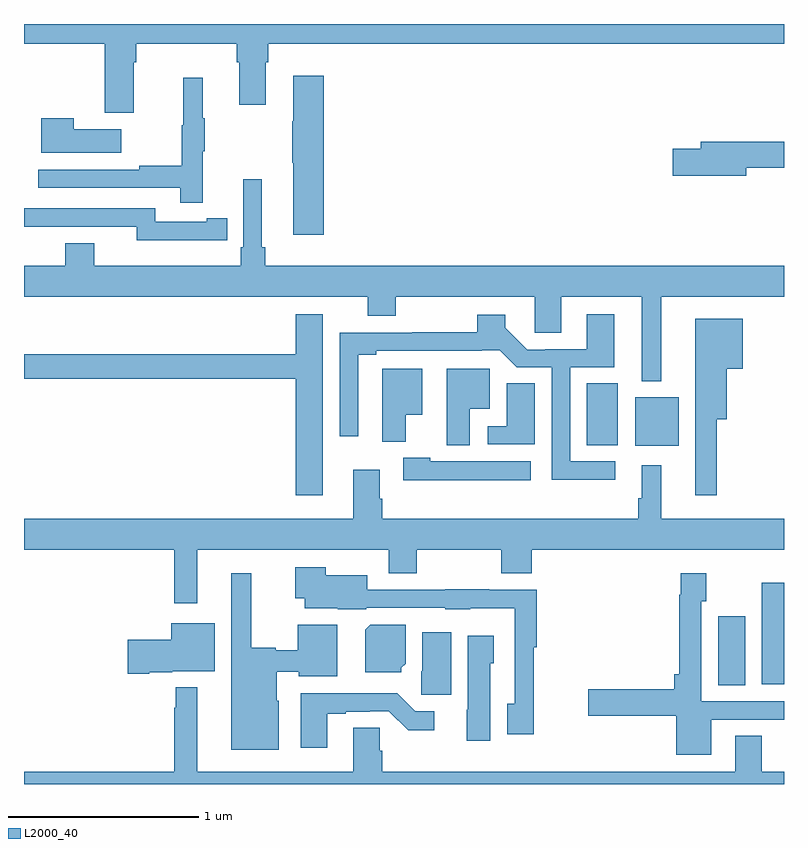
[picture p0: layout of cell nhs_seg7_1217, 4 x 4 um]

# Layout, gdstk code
import gdstk
lib = gdstk.Library(unit=1e-6, precision=1e-09)
def R(c, l, rs):  # rectangles x0, y0, x1, y1
    for r in rs: c.add(gdstk.rectangle(r[:2], r[2:], *l))
def P(c, l, *ps):  # polygons
    for p in ps: c.add(gdstk.Polygon(p, *l))
L2000_40 = (2000, 40)

nhs_seg7_1217 = lib.new_cell('nhs_seg7_1217')
R(nhs_seg7_1217, L2000_40, [(198.653,1050.52,198.796,1050.883), (198.884,1050.524,199,1051.06), (198.218,1051.781,198.445,1052.035), (197.963,1051.783,198.124,1052.108)])
P(nhs_seg7_1217, L2000_40, [(195.577,1053.8),(195.59,1053.8),(195.59,1053.896),(196.121,1053.896),(196.121,1053.8),(196.133,1053.8),(196.133,1053.576),(196.273,1053.576),(196.273,1053.8),(196.286,1053.8),(196.286,1053.896),(199,1053.896),(199,1054),(195,1054),(195,1053.896),(195.425,1053.896),(195.425,1053.534),(195.577,1053.534)],
  [(196.577,1053.727),(196.418,1053.727),(196.418,1053.488),(196.411,1053.488),(196.411,1053.271),(196.418,1053.271),(196.418,1052.892),(196.577,1052.892)],
  [(195.941,1053.331),(195.952,1053.331),(195.952,1053.505),(195.941,1053.505),(195.941,1053.718),(195.838,1053.718),(195.838,1053.468),(195.831,1053.468),(195.831,1053.254),(195.607,1053.254),(195.607,1053.234),(195.075,1053.234),(195.075,1053.138),(195.823,1053.138),(195.823,1053.06),(195.941,1053.06)],
  [(195.511,1053.445),(195.263,1053.445),(195.263,1053.505),(195.092,1053.505),(195.092,1053.323),(195.511,1053.323)],
  [(198.802,1053.244),(199,1053.244),(199,1053.38),(198.563,1053.38),(198.563,1053.344),(198.414,1053.344),(198.414,1053.202),(198.802,1053.202)],
  [(198.355,1052.564),(199,1052.564),(199,1052.728),(196.271,1052.728),(196.271,1052.824),(196.252,1052.824),(196.252,1053.184),(196.155,1053.184),(196.155,1052.824),(196.142,1052.824),(196.142,1052.728),(195.37,1052.728),(195.37,1052.845),(195.218,1052.845),(195.218,1052.728),(195,1052.728),(195,1052.564),(196.808,1052.564),(196.808,1052.465),(196.956,1052.465),(196.956,1052.564),(197.688,1052.564),(197.688,1052.374),(197.827,1052.374),(197.827,1052.564),(198.251,1052.564),(198.251,1052.12),(198.355,1052.12)],
  [(195.962,1052.862),(196.07,1052.862),(196.07,1052.978),(195.962,1052.978),(195.962,1052.958),(195.69,1052.958),(195.69,1053.03),(195,1053.03),(195,1052.933),(195.134,1052.933),(195.134,1052.934),(195.594,1052.934),(195.594,1052.861),(195.962,1052.861)],
  [(196.573,1052.473),(196.43,1052.473),(196.43,1052.263),(195,1052.263),(195,1052.134),(196.43,1052.134),(196.43,1051.521),(196.573,1051.521)],
  [(198.112,1051.698),(197.874,1051.698),(197.874,1052.193),(198.106,1052.193),(198.106,1052.473),(197.963,1052.473),(197.963,1052.289),(197.743,1052.289),(197.743,1052.286),(197.649,1052.286),(197.533,1052.402),(197.533,1052.47),(197.386,1052.47),(197.386,1052.378),(197.044,1052.378),(197.044,1052.376),(196.662,1052.376),(196.662,1051.83),(196.758,1051.83),(196.758,1052.26),(196.855,1052.26),(196.855,1052.28),(197.408,1052.28),(197.408,1052.283),(197.504,1052.283),(197.594,1052.193),(197.778,1052.193),(197.778,1051.601),(198.112,1051.601)],
  [(198.647,1051.919),(198.699,1051.919),(198.699,1052.186),(198.784,1052.186),(198.784,1052.449),(198.533,1052.449),(198.533,1051.521),(198.647,1051.521)],
  [(197.347,1051.976),(197.452,1051.976),(197.452,1052.185),(197.225,1052.185),(197.225,1051.784),(197.347,1051.784)],
  [(197.008,1051.943),(197.095,1051.943),(197.095,1052.185),(196.886,1052.185),(196.886,1051.802),(197.008,1051.802)],
  [(197.689,1052.108),(197.54,1052.108),(197.54,1051.884),(197.442,1051.884),(197.442,1051.788),(197.689,1051.788)],
  [(197.668,1051.699),(197.139,1051.699),(197.139,1051.717),(196.995,1051.717),(196.995,1051.598),(197.668,1051.598)],
  [(195.913,1051.232),(196.919,1051.232),(196.919,1051.108),(197.067,1051.108),(197.067,1051.232),(197.512,1051.232),(197.512,1051.108),(197.672,1051.108),(197.672,1051.232),(199,1051.232),(199,1051.396),(198.355,1051.396),(198.355,1051.678),(198.251,1051.678),(198.251,1051.505),(198.234,1051.505),(198.234,1051.396),(196.886,1051.396),(196.886,1051.502),(196.873,1051.502),(196.873,1051.654),(196.733,1051.654),(196.733,1051.396),(195,1051.396),(195,1051.232),(195.792,1051.232),(195.792,1050.951),(195.913,1050.951)],
  [(197.684,1050.72),(197.699,1050.72),(197.699,1051.023),(197.449,1051.023),(197.449,1051.025),(197.217,1051.025),(197.217,1051.023),(196.807,1051.023),(196.807,1051.099),(196.588,1051.099),(196.588,1051.141),(196.427,1051.141),(196.427,1050.977),(196.478,1050.977),(196.478,1050.926),(196.65,1050.926),(196.65,1050.92),(196.8,1050.92),(196.8,1050.927),(197.217,1050.927),(197.217,1050.92),(197.349,1050.92),(197.349,1050.926),(197.583,1050.926),(197.583,1050.422),(197.543,1050.422),(197.543,1050.261),(197.684,1050.261)],
  [(196.342,1050.438),(196.33,1050.438),(196.33,1050.591),(196.446,1050.591),(196.446,1050.566),(196.648,1050.566),(196.648,1050.838),(196.442,1050.838),(196.442,1050.705),(196.326,1050.705),(196.326,1050.716),(196.195,1050.716),(196.195,1051.108),(196.091,1051.108),(196.091,1050.179),(196.342,1050.179)],
  [(198.616,1050.339),(199,1050.339),(199,1050.435),(198.564,1050.435),(198.564,1050.963),(198.591,1050.963),(198.591,1051.108),(198.456,1051.108),(198.456,1050.995),(198.448,1050.995),(198.448,1050.577),(198.422,1050.577),(198.422,1050.5),(197.97,1050.5),(197.97,1050.358),(198.434,1050.358),(198.434,1050.155),(198.616,1050.155)],
  [(195.658,1050.587),(195.78,1050.587),(195.78,1050.593),(196.003,1050.593),(196.003,1050.847),(195.776,1050.847),(195.776,1050.759),(195.546,1050.759),(195.546,1050.581),(195.658,1050.581)],
  [(196.986,1050.612),(197.008,1050.634),(197.008,1050.838),(196.822,1050.838),(196.796,1050.812),(196.796,1050.587),(196.986,1050.587)],
  [(197.248,1050.799),(197.096,1050.799),(197.096,1050.594),(197.092,1050.594),(197.092,1050.471),(197.248,1050.471)],
  [(197.455,1050.636),(197.473,1050.636),(197.473,1050.781),(197.336,1050.781),(197.336,1050.39),(197.33,1050.39),(197.33,1050.228),(197.455,1050.228)],
  [(196.872,1050.174),(196.872,1050.296),(196.733,1050.296),(196.733,1050.064),(195.913,1050.064),(195.913,1050.508),(195.799,1050.508),(195.799,1050.401),(195.792,1050.401),(195.792,1050.064),(195,1050.064),(195,1050),(199,1050),(199,1050.064),(198.883,1050.064),(198.883,1050.254),(198.743,1050.254),(198.743,1050.064),(196.886,1050.064),(196.886,1050.174)],
  [(196.597,1050.369),(196.693,1050.369),(196.693,1050.381),(196.82,1050.381),(196.82,1050.384),(196.92,1050.384),(197.023,1050.282),(197.158,1050.282),(197.158,1050.384),(197.058,1050.384),(196.964,1050.478),(196.457,1050.478),(196.457,1050.192),(196.597,1050.192)])

lib.write_gds('nhs_seg7_1217.gds')
